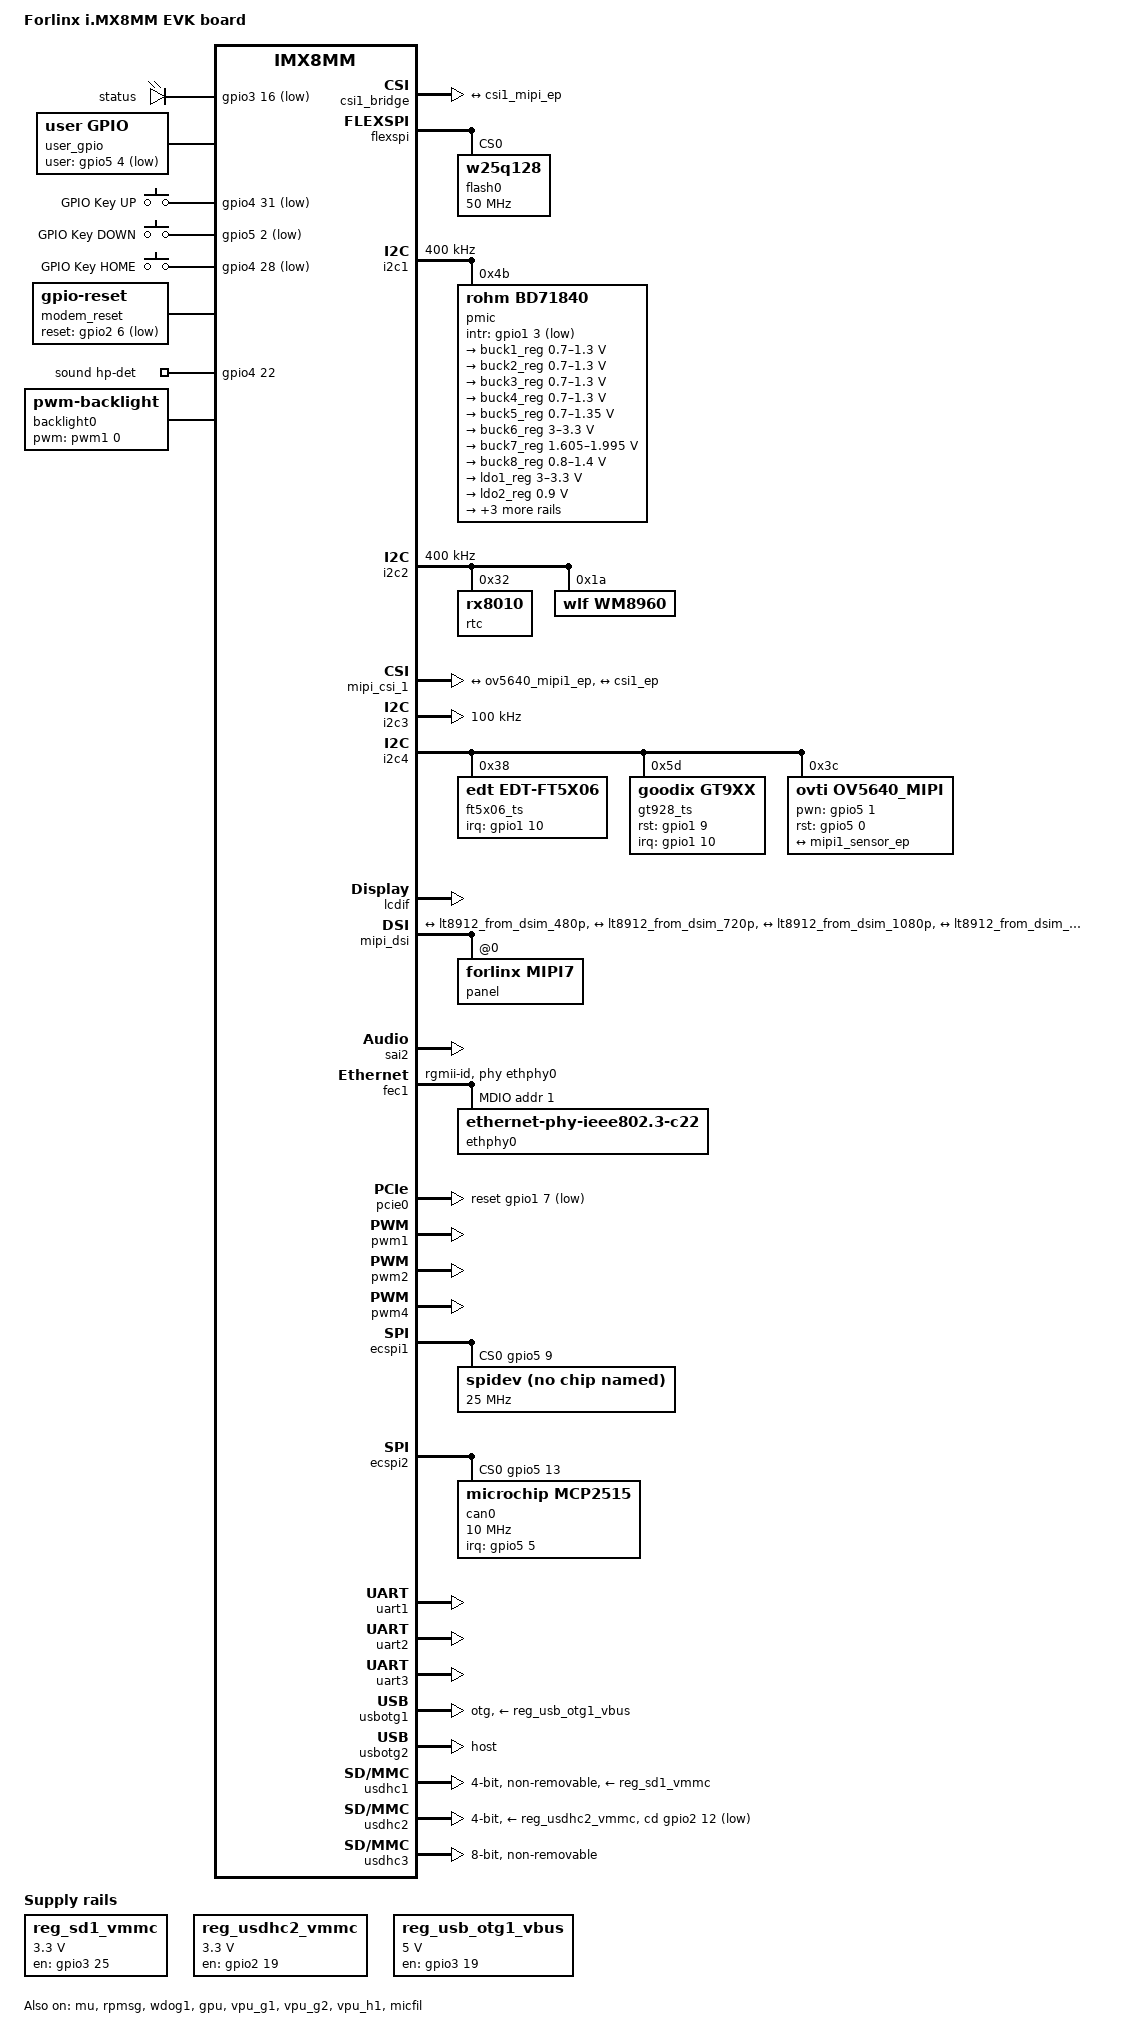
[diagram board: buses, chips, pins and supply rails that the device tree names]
/*
 * Copyright 2018 NXP
 *
 * This program is free software; you can redistribute it and/or
 * modify it under the terms of the GNU General Public License
 * as published by the Free Software Foundation; either version 2
 * of the License, or (at your option) any later version.
 *
 * This program is distributed in the hope that it will be useful,
 * but WITHOUT ANY WARRANTY; without even the implied warranty of
 * MERCHANTABILITY or FITNESS FOR A PARTICULAR PURPOSE.  See the
 * GNU General Public License for more details.
 */

/dts-v1/;

#include "fsl-imx8mm.dtsi"

/ {
	model = "Forlinx i.MX8MM EVK board";
	compatible = "forlinx,imx8mm-evk", "fsl,imx8mm";
	
	clocks {
                mcp251x_clock: mcp251x_clock{
                	compatible = "fixed-clock";
                	#clock-cells = <0>;
                	clock-frequency = <8000000>;
                };
        };

	chosen {
		bootargs = "console=ttymxc1,115200 earlycon=ec_imx6q,0x30890000,115200";
		stdout-path = &uart2;
	};

	leds {
		compatible = "gpio-leds";
		pinctrl-names = "default";
		pinctrl-0 = <&pinctrl_gpio_led>;

		status {
			label = "status";
			gpios = <&gpio3 16 GPIO_ACTIVE_LOW>;
			linux,default-trigger = "heartbeat";
		};
	};

	user_gpio {
		compatible = "user,gpio";
		user-gpios= <&gpio5 4 GPIO_ACTIVE_LOW>;
		pinctrl-names = "default";
		pinctrl-0 = <&pinctrl_user_gpio>;
	};

	gpio-keys {
		compatible = "gpio-keys";
		autorepeat;
		pinctrl-names = "default";
		pinctrl-0 = <&pinctrl_gpio_keys>;

		up {
			label = "GPIO Key UP";
			linux,code = <115>;
			gpios = <&gpio4 31 GPIO_ACTIVE_LOW>;
		};

		down {
			label = "GPIO Key DOWN";
			linux,code = <114>;
			gpios = <&gpio5 2 GPIO_ACTIVE_LOW>;
		};

		home {
			label = "GPIO Key HOME";
			linux,code = <102>;
			gpios = <&gpio4 28 GPIO_ACTIVE_LOW>;
		};
	};

	modem_reset: modem-reset {
		compatible = "gpio-reset";
		reset-gpios = <&gpio2 6 GPIO_ACTIVE_LOW>;
		reset-delay-us = <2000>;
		reset-post-delay-ms = <40>;
		#reset-cells = <0>;
	};

	regulators {
		compatible = "simple-bus";
		#address-cells = <1>;
		#size-cells = <0>;

		reg_sd1_vmmc: sd1_regulator {
			compatible = "regulator-fixed";
			regulator-name = "WLAN_EN";
			regulator-min-microvolt = <3300000>;
			regulator-max-microvolt = <3300000>;
			gpio = <&gpio3 25 GPIO_ACTIVE_HIGH>;
			off-on-delay = <20000>;
			startup-delay-us = <100>;
			enable-active-high;
		};

		reg_usdhc2_vmmc: regulator-usdhc2 {
			compatible = "regulator-fixed";
			regulator-name = "VSD_3V3";
			regulator-min-microvolt = <3300000>;
			regulator-max-microvolt = <3300000>;
			gpio = <&gpio2 19 GPIO_ACTIVE_HIGH>;
			off-on-delay = <20000>;
			enable-active-high;
		};

		reg_usb_otg1_vbus: regulator@0 {
			compatible = "regulator-fixed";
			reg = <0>;
			regulator-name = "usb_otg1_vbus";
			regulator-min-microvolt = <5000000>;
			regulator-max-microvolt = <5000000>;
			gpio = <&gpio3 19 GPIO_ACTIVE_HIGH>;
			enable-active-high;
		};
	};

	sound: sound {
		compatible = "fsl,imx7d-evk-wm8960",
			   "fsl,imx-audio-wm8960";
		model = "wm8960-audio";
		cpu-dai = <&sai2>;
		audio-codec = <&wm8960>;
		codec-master;
		hp-det-gpios = <&gpio4 22 0>;
		audio-routing =
			"Headphone Jack", "HP_L",
			"Headphone Jack", "HP_R",
			"Ext Spk", "SPK_LP",
			"Ext Spk", "SPK_LN",
			"Ext Spk", "SPK_RP",
			"Ext Spk", "SPK_RN",
			"LINPUT2", "Mic Jack",
			"RINPUT2", "Mic Jack",
			"Mic Jack", "MICB",
			"CPU-Playback", "ASRC-Playback",
			"Playback", "CPU-Playback",
			"ASRC-Capture", "CPU-Capture",
			"CPU-Capture", "Capture";
	};
	
	sound-micfil {
		compatible = "fsl,imx-audio-micfil";
		model = "imx-audio-micfil";
		cpu-dai = <&micfil>;
	};

	backlight0: backlight@0 {
		compatible = "pwm-backlight";
		pwms = <&pwm1 0 50000 0>;

		brightness-levels = < 0 23 23 23 23 23 23 23 23 23
				     23 23 23 23 23 23 23 23 23 23
				     23 23 23 23 24 25 26 27 28 29
				     30 31 32 33 34 35 36 37 38 39
				     40 41 42 43 44 45 46 47 48 49
				     50 51 52 53 54 55 56 57 58 59
				     60 61 62 63 64 65 66 67 68 69
				     70 71 72 73 74 75 76 77 78 79
				     80 81 82 83 84 85 86 87 88 89
				     90 91 92 93 94 95 96 97 98 99
				    100>;
		default-brightness-level = <80>;
	};
};

&clk {
	assigned-clocks = <&clk IMX8MM_AUDIO_PLL1>, <&clk IMX8MM_AUDIO_PLL2>;
	assigned-clock-rates = <720000000>, <722534400>;
};

&iomuxc {
	pinctrl-names = "default";

	imx8mm-evk {
		pinctrl_user_gpio: user_gpio_grp {
			fsl,pins = <
				MX8MM_IOMUXC_SPDIF_RX_GPIO5_IO4		0x16
			>;
		};

		pinctrl_csi_pwn: csi_pwn_grp {
			fsl,pins = <
				MX8MM_IOMUXC_SAI3_TXD_GPIO5_IO1		0x19
			>;
		};

		pinctrl_csi_rst: csi_rst_grp {
			fsl,pins = <
				MX8MM_IOMUXC_SAI3_TXC_GPIO5_IO0		0x19
				MX8MM_IOMUXC_GPIO1_IO14_CCMSRCGPCMIX_CLKO1  0x59
			>;
		};

		pinctrl_i2c2_synaptics_dsx_io: synaptics_dsx_iogrp {
			fsl,pins = <
				MX8MM_IOMUXC_GPIO1_IO09_GPIO1_IO9		0x19	/* Touch int */
			>;
		};

		pinctrl_fec1: fec1grp {
			fsl,pins = <
				MX8MM_IOMUXC_ENET_MDC_ENET1_MDC		0x3
				MX8MM_IOMUXC_ENET_MDIO_ENET1_MDIO	0x3
				MX8MM_IOMUXC_ENET_TD3_ENET1_RGMII_TD3	0x1f
				MX8MM_IOMUXC_ENET_TD2_ENET1_RGMII_TD2	0x1f
				MX8MM_IOMUXC_ENET_TD1_ENET1_RGMII_TD1	0x1f
				MX8MM_IOMUXC_ENET_TD0_ENET1_RGMII_TD0	0x1f
				MX8MM_IOMUXC_ENET_RD3_ENET1_RGMII_RD3	0x91
				MX8MM_IOMUXC_ENET_RD2_ENET1_RGMII_RD2	0x91
				MX8MM_IOMUXC_ENET_RD1_ENET1_RGMII_RD1	0x91
				MX8MM_IOMUXC_ENET_RD0_ENET1_RGMII_RD0	0x91
				MX8MM_IOMUXC_ENET_TXC_ENET1_RGMII_TXC	0x1f
				MX8MM_IOMUXC_ENET_RXC_ENET1_RGMII_RXC	0x91
				MX8MM_IOMUXC_ENET_RX_CTL_ENET1_RGMII_RX_CTL	0x91
				MX8MM_IOMUXC_ENET_TX_CTL_ENET1_RGMII_TX_CTL	0x1f
				MX8MM_IOMUXC_SD1_RESET_B_GPIO2_IO10	0x19
			>;
		};

		pinctrl_flexspi0: flexspi0grp {
			fsl,pins = <
				MX8MM_IOMUXC_NAND_ALE_QSPI_A_SCLK		0x1c2
				MX8MM_IOMUXC_NAND_CE0_B_QSPI_A_SS0_B		0x82
				MX8MM_IOMUXC_NAND_DATA00_QSPI_A_DATA0		0x156
				MX8MM_IOMUXC_NAND_DATA01_QSPI_A_DATA1		0x156
				MX8MM_IOMUXC_NAND_DATA02_QSPI_A_DATA2		0x156
				MX8MM_IOMUXC_NAND_DATA03_QSPI_A_DATA3		0x156
			>;
		};

		pinctrl_gpio_led: gpioledgrp {
			fsl,pins = <
				MX8MM_IOMUXC_NAND_READY_B_GPIO3_IO16	0x19
			>;
		};

		pinctrl_i2c1: i2c1grp {
			fsl,pins = <
				MX8MM_IOMUXC_I2C1_SCL_I2C1_SCL			0x400001c3
				MX8MM_IOMUXC_I2C1_SDA_I2C1_SDA			0x400001c3
			>;
		};

		pinctrl_i2c2: i2c2grp {
			fsl,pins = <
				MX8MM_IOMUXC_I2C2_SCL_I2C2_SCL			0x400001c3
				MX8MM_IOMUXC_I2C2_SDA_I2C2_SDA			0x400001c3
			>;
		};

		pinctrl_i2c3: i2c3grp {
			fsl,pins = <
				MX8MM_IOMUXC_I2C3_SCL_I2C3_SCL			0x400001c3
				MX8MM_IOMUXC_I2C3_SDA_I2C3_SDA			0x400001c3
			>;
		};

		pinctrl_i2c4: i2c4grp {
			fsl,pins = <
				MX8MM_IOMUXC_I2C4_SCL_I2C4_SCL			0x400001c3
				MX8MM_IOMUXC_I2C4_SDA_I2C4_SDA			0x400001c3
			>;
		};

		pinctrl_pcie0: pcie0grp {
			fsl,pins = <
				MX8MM_IOMUXC_GPIO1_IO05_GPIO1_IO5	0x41
				MX8MM_IOMUXC_GPIO1_IO07_GPIO1_IO7	0x41
			>;
		};

		pinctrl_pmic: pmicirq {
			fsl,pins = <
				MX8MM_IOMUXC_GPIO1_IO03_GPIO1_IO3		0x41
			>;
		};

		pinctrl_sai1: sai1grp {
			fsl,pins = <
				MX8MM_IOMUXC_SAI1_MCLK_SAI1_MCLK	0xd6
				MX8MM_IOMUXC_SAI1_TXFS_SAI1_TX_SYNC	0xd6
				MX8MM_IOMUXC_SAI1_RXD7_SAI1_TX_SYNC	0xd6
				MX8MM_IOMUXC_SAI1_TXC_SAI1_TX_BCLK	0xd6
				MX8MM_IOMUXC_SAI1_TXD0_SAI1_TX_DATA0	0xd6
				MX8MM_IOMUXC_SAI1_TXD1_SAI1_TX_DATA1	0xd6
				MX8MM_IOMUXC_SAI1_TXD2_SAI1_TX_DATA2	0xd6
				MX8MM_IOMUXC_SAI1_TXD3_SAI1_TX_DATA3	0xd6
				MX8MM_IOMUXC_SAI1_TXD4_SAI1_TX_DATA4	0xd6
				MX8MM_IOMUXC_SAI1_TXD5_SAI1_TX_DATA5	0xd6
				MX8MM_IOMUXC_SAI1_TXD6_SAI1_TX_DATA6	0xd6
				MX8MM_IOMUXC_SAI1_TXD7_SAI1_TX_DATA7	0xd6
			>;
		};

		pinctrl_sai1_dsd: sai1grp_dsd {
			fsl,pins = <
				MX8MM_IOMUXC_SAI1_MCLK_SAI1_MCLK	0xd6
				MX8MM_IOMUXC_SAI1_TXFS_SAI1_TX_SYNC	0xd6
				MX8MM_IOMUXC_SAI1_RXD7_SAI1_TX_DATA4	0xd6
				MX8MM_IOMUXC_SAI1_TXC_SAI1_TX_BCLK	0xd6
				MX8MM_IOMUXC_SAI1_TXD0_SAI1_TX_DATA0	0xd6
				MX8MM_IOMUXC_SAI1_TXD1_SAI1_TX_DATA1	0xd6
				MX8MM_IOMUXC_SAI1_TXD2_SAI1_TX_DATA2	0xd6
				MX8MM_IOMUXC_SAI1_TXD3_SAI1_TX_DATA3	0xd6
				MX8MM_IOMUXC_SAI1_TXD4_SAI1_TX_DATA4	0xd6
				MX8MM_IOMUXC_SAI1_TXD5_SAI1_TX_DATA5	0xd6
				MX8MM_IOMUXC_SAI1_TXD6_SAI1_TX_DATA6	0xd6
				MX8MM_IOMUXC_SAI1_TXD7_SAI1_TX_DATA7	0xd6
			>;
		};

		pinctrl_sai2: sai2grp {
			fsl,pins = <
				MX8MM_IOMUXC_SAI2_TXFS_SAI2_TX_SYNC     0xd6
				MX8MM_IOMUXC_SAI2_TXC_SAI2_TX_BCLK      0xd6
				MX8MM_IOMUXC_SAI2_MCLK_SAI2_MCLK        0xd6
				MX8MM_IOMUXC_SAI2_TXD0_SAI2_TX_DATA0	0xd6
				MX8MM_IOMUXC_SAI2_RXD0_SAI2_RX_DATA0    0xd6
				MX8MM_IOMUXC_SAI2_RXC_GPIO4_IO22	0xd6	
			>;
		};

		pinctrl_pdm: pdmgrp {
			fsl,pins = <
				MX8MM_IOMUXC_SAI5_RXC_PDM_CLK		0xd6
				MX8MM_IOMUXC_SAI5_RXD0_PDM_DATA0	0xd6
				MX8MM_IOMUXC_SAI5_RXD1_PDM_DATA1	0xd6
				MX8MM_IOMUXC_SAI5_RXD2_PDM_DATA2	0xd6
				MX8MM_IOMUXC_SAI5_RXD3_PDM_DATA3	0xd6
			>;
		};

		pinctrl_uart1: uart1grp {
			fsl,pins = <
				MX8MM_IOMUXC_UART1_RXD_UART1_DCE_RX	0x140
				MX8MM_IOMUXC_UART1_TXD_UART1_DCE_TX	0x140
			>;
		};

		pinctrl_uart2: uart2grp {
			fsl,pins = <
				MX8MM_IOMUXC_UART2_RXD_UART2_DCE_RX	0x140
				MX8MM_IOMUXC_UART2_TXD_UART2_DCE_TX	0x140
			>;
		};

		pinctrl_uart3: uart3grp {
			fsl,pins = <
				MX8MM_IOMUXC_UART3_RXD_UART3_DCE_RX		0x140
				MX8MM_IOMUXC_UART3_TXD_UART3_DCE_TX		0x140
			>;
		};

		pinctrl_usdhc1_gpio: usdhc1grpgpio {
			fsl,pins = <
				MX8MM_IOMUXC_SAI5_MCLK_GPIO3_IO25	0x41
			>;
		};

		pinctrl_usdhc1: usdhc1grp {
			fsl,pins = <
				MX8MM_IOMUXC_SD1_CLK_USDHC1_CLK		0x190
				MX8MM_IOMUXC_SD1_CMD_USDHC1_CMD		0x1d0
				MX8MM_IOMUXC_SD1_DATA0_USDHC1_DATA0	0x1d0
				MX8MM_IOMUXC_SD1_DATA1_USDHC1_DATA1	0x1d0
				MX8MM_IOMUXC_SD1_DATA2_USDHC1_DATA2	0x1d0
				MX8MM_IOMUXC_SD1_DATA3_USDHC1_DATA3	0x1d0
			>;
		};

		pinctrl_usdhc1_100mhz: usdhc1grp100mhz {
			fsl,pins = <
				MX8MM_IOMUXC_SD1_CLK_USDHC1_CLK		0x194
				MX8MM_IOMUXC_SD1_CMD_USDHC1_CMD		0x1d4
				MX8MM_IOMUXC_SD1_DATA0_USDHC1_DATA0	0x1d4
				MX8MM_IOMUXC_SD1_DATA1_USDHC1_DATA1	0x1d4
				MX8MM_IOMUXC_SD1_DATA2_USDHC1_DATA2	0x1d4
				MX8MM_IOMUXC_SD1_DATA3_USDHC1_DATA3	0x1d4
			>;
		};

		pinctrl_usdhc1_200mhz: usdhc1grp200mhz {
			fsl,pins = <
				MX8MM_IOMUXC_SD1_CLK_USDHC1_CLK		0x196
				MX8MM_IOMUXC_SD1_CMD_USDHC1_CMD		0x1d6
				MX8MM_IOMUXC_SD1_DATA0_USDHC1_DATA0	0x1d6
				MX8MM_IOMUXC_SD1_DATA1_USDHC1_DATA1	0x1d6
				MX8MM_IOMUXC_SD1_DATA2_USDHC1_DATA2	0x1d6
				MX8MM_IOMUXC_SD1_DATA3_USDHC1_DATA3	0x1d6
			>;
		};

		pinctrl_usdhc2_gpio: usdhc2grpgpio {
			fsl,pins = <
				MX8MM_IOMUXC_SD2_CD_B_GPIO2_IO12	0x1c4
				MX8MM_IOMUXC_SD2_RESET_B_GPIO2_IO19	0x41
			>;
		};

		pinctrl_usdhc2: usdhc2grp {
			fsl,pins = <
				MX8MM_IOMUXC_SD2_CLK_USDHC2_CLK		0x190
				MX8MM_IOMUXC_SD2_CMD_USDHC2_CMD		0x1d0
				MX8MM_IOMUXC_SD2_DATA0_USDHC2_DATA0	0x1d0
				MX8MM_IOMUXC_SD2_DATA1_USDHC2_DATA1	0x1d0
				MX8MM_IOMUXC_SD2_DATA2_USDHC2_DATA2	0x1d0
				MX8MM_IOMUXC_SD2_DATA3_USDHC2_DATA3	0x1d0
				MX8MM_IOMUXC_GPIO1_IO04_USDHC2_VSELECT	0x1d0
			>;
		};

		pinctrl_usdhc2_100mhz: usdhc2grp100mhz {
			fsl,pins = <
				MX8MM_IOMUXC_SD2_CLK_USDHC2_CLK		0x194
				MX8MM_IOMUXC_SD2_CMD_USDHC2_CMD		0x1d4
				MX8MM_IOMUXC_SD2_DATA0_USDHC2_DATA0	0x1d4
				MX8MM_IOMUXC_SD2_DATA1_USDHC2_DATA1	0x1d4
				MX8MM_IOMUXC_SD2_DATA2_USDHC2_DATA2	0x1d4
				MX8MM_IOMUXC_SD2_DATA3_USDHC2_DATA3	0x1d4
				MX8MM_IOMUXC_GPIO1_IO04_USDHC2_VSELECT	0x1d0
			>;
		};

		pinctrl_usdhc2_200mhz: usdhc2grp200mhz {
			fsl,pins = <
				MX8MM_IOMUXC_SD2_CLK_USDHC2_CLK		0x196
				MX8MM_IOMUXC_SD2_CMD_USDHC2_CMD		0x1d6
				MX8MM_IOMUXC_SD2_DATA0_USDHC2_DATA0	0x1d6
				MX8MM_IOMUXC_SD2_DATA1_USDHC2_DATA1	0x1d6
				MX8MM_IOMUXC_SD2_DATA2_USDHC2_DATA2	0x1d6
				MX8MM_IOMUXC_SD2_DATA3_USDHC2_DATA3	0x1d6
				MX8MM_IOMUXC_GPIO1_IO04_USDHC2_VSELECT	0x1d0
			>;
		};

		pinctrl_usdhc3: usdhc3grp {
			fsl,pins = <
				MX8MM_IOMUXC_NAND_WE_B_USDHC3_CLK		0x190
				MX8MM_IOMUXC_NAND_WP_B_USDHC3_CMD		0x1d0
				MX8MM_IOMUXC_NAND_DATA04_USDHC3_DATA0		0x1d0
				MX8MM_IOMUXC_NAND_DATA05_USDHC3_DATA1		0x1d0
				MX8MM_IOMUXC_NAND_DATA06_USDHC3_DATA2		0x1d0
				MX8MM_IOMUXC_NAND_DATA07_USDHC3_DATA3		0x1d0
				MX8MM_IOMUXC_NAND_RE_B_USDHC3_DATA4		0x1d0
				MX8MM_IOMUXC_NAND_CE2_B_USDHC3_DATA5		0x1d0
				MX8MM_IOMUXC_NAND_CE3_B_USDHC3_DATA6		0x1d0
				MX8MM_IOMUXC_NAND_CLE_USDHC3_DATA7		0x1d0
				MX8MM_IOMUXC_NAND_CE1_B_USDHC3_STROBE 		0x190
			>;
		};

		pinctrl_usdhc3_100mhz: usdhc3grp100mhz {
			fsl,pins = <
				MX8MM_IOMUXC_NAND_WE_B_USDHC3_CLK		0x194
				MX8MM_IOMUXC_NAND_WP_B_USDHC3_CMD		0x1d4
				MX8MM_IOMUXC_NAND_DATA04_USDHC3_DATA0		0x1d4
				MX8MM_IOMUXC_NAND_DATA05_USDHC3_DATA1		0x1d4
				MX8MM_IOMUXC_NAND_DATA06_USDHC3_DATA2		0x1d4
				MX8MM_IOMUXC_NAND_DATA07_USDHC3_DATA3		0x1d4
				MX8MM_IOMUXC_NAND_RE_B_USDHC3_DATA4		0x1d4
				MX8MM_IOMUXC_NAND_CE2_B_USDHC3_DATA5		0x1d4
				MX8MM_IOMUXC_NAND_CE3_B_USDHC3_DATA6		0x1d4
				MX8MM_IOMUXC_NAND_CLE_USDHC3_DATA7		0x1d4
				MX8MM_IOMUXC_NAND_CE1_B_USDHC3_STROBE 		0x194
			>;
		};

		pinctrl_usdhc3_200mhz: usdhc3grp200mhz {
			fsl,pins = <
				MX8MM_IOMUXC_NAND_WE_B_USDHC3_CLK		0x196
				MX8MM_IOMUXC_NAND_WP_B_USDHC3_CMD		0x1d6
				MX8MM_IOMUXC_NAND_DATA04_USDHC3_DATA0		0x1d6
				MX8MM_IOMUXC_NAND_DATA05_USDHC3_DATA1		0x1d6
				MX8MM_IOMUXC_NAND_DATA06_USDHC3_DATA2		0x1d6
				MX8MM_IOMUXC_NAND_DATA07_USDHC3_DATA3		0x1d6
				MX8MM_IOMUXC_NAND_RE_B_USDHC3_DATA4		0x1d6
				MX8MM_IOMUXC_NAND_CE2_B_USDHC3_DATA5		0x1d6
				MX8MM_IOMUXC_NAND_CE3_B_USDHC3_DATA6		0x1d6
				MX8MM_IOMUXC_NAND_CLE_USDHC3_DATA7		0x1d6
				MX8MM_IOMUXC_NAND_CE1_B_USDHC3_STROBE 		0x196
			>;
		};

		pinctrl_wdog: wdoggrp {
			fsl,pins = <
				MX8MM_IOMUXC_GPIO1_IO02_WDOG1_WDOG_B		0xc6
			>;
		};

		pinctrl_otg1_vbus_ctrl: otg1_vbus_ctrl {
			fsl,pins = <
				MX8MM_IOMUXC_SAI5_RXFS_GPIO3_IO19		0x100	//pull down
			>;
		};

		pinctrl_gpio_keys: gpio_keys {
			fsl,pins = <
				MX8MM_IOMUXC_SAI3_TXFS_GPIO4_IO31		0x19
				MX8MM_IOMUXC_SAI3_RXFS_GPIO4_IO28		0x19
				MX8MM_IOMUXC_SAI3_MCLK_GPIO5_IO2		0x19
			>;
		};

		pinctrl_spi1: spi1 {
			fsl,pins = <
				MX8MM_IOMUXC_ECSPI1_SCLK_ECSPI1_SCLK		0x1d0
				MX8MM_IOMUXC_ECSPI1_MOSI_ECSPI1_MOSI		0x1d0
				MX8MM_IOMUXC_ECSPI1_MISO_ECSPI1_MISO		0x1d0
				MX8MM_IOMUXC_ECSPI1_SS0_GPIO5_IO9		0x1d0
				MX8MM_IOMUXC_SPDIF_TX_GPIO5_IO3			0x159
			>;
		};

		pinctrl_spi2: spi2 {
			fsl,pins = <
				MX8MM_IOMUXC_ECSPI2_SCLK_ECSPI2_SCLK		0x1d0
				MX8MM_IOMUXC_ECSPI2_MOSI_ECSPI2_MOSI		0x1d0
				MX8MM_IOMUXC_ECSPI2_MISO_ECSPI2_MISO		0x1d0
				MX8MM_IOMUXC_ECSPI2_SS0_GPIO5_IO13		0x1d0
				MX8MM_IOMUXC_SPDIF_EXT_CLK_GPIO5_IO5		0x159
			>;
		};

		pinctrl_pwm1: pwm1 {
			fsl,pins = <
				MX8MM_IOMUXC_GPIO1_IO01_PWM1_OUT		0x1d0
			>;
		};
		
		pinctrl_pwm2: pwm2 {
			fsl,pins = <
				MX8MM_IOMUXC_GPIO1_IO13_PWM2_OUT		0x1d0
			>;
		};

		pinctrl_pwm3: pwm3 {
			fsl,pins = <
				MX8MM_IOMUXC_GPIO1_IO14_PWM3_OUT		0x1d0
			>;
		};

		pinctrl_pwm4: pwm4 {
			fsl,pins = <
				MX8MM_IOMUXC_GPIO1_IO15_PWM4_OUT		0x1d0
			>;
		};
		
		pinctrl_ft5x06_int: ft5x06_int {
			fsl,pins = <
				MX8MM_IOMUXC_GPIO1_IO10_GPIO1_IO10		0x159
				MX8MM_IOMUXC_GPIO1_IO09_GPIO1_IO9		0x159	
			>;
		};

		pinctrl_wm8960_power_en: wm8960_pw_en {
			fsl,pins = <
				MX8MM_IOMUXC_SAI2_RXFS_GPIO4_IO21		0x159
			>;
		};
	};
};

&csi1_bridge {
	fsl,mipi-mode;
	status = "okay";
	port {
		csi1_ep: endpoint {
			remote-endpoint = <&csi1_mipi_ep>;
		};
	};
};

&flexspi {
	pinctrl-names = "default";
	pinctrl-0 = <&pinctrl_flexspi0>;
	status = "okay";
	assigned-clocks = <&clk IMX8MM_CLK_QSPI_SRC>;
	assigned-clock-parents = <&clk IMX8MM_SYS_PLL1_100M>;

	flash0: mt25qu256aba@0 {
		reg = <0>;
		#address-cells = <1>;
		#size-cells = <1>;
		compatible = "w25q128";
		spi-max-frequency = <50000000>;
		spi-nor,ddr-quad-read-dummy = <6>;
	};
};

&i2c1 {
	clock-frequency = <400000>;
	pinctrl-names = "default";
	pinctrl-0 = <&pinctrl_i2c1>;
	status = "okay";

	pmic: bd71837@4b {
		reg = <0x4b>;
		compatible = "rohm,bd71840", "rohm,bd71837";
		/* PMIC BD71837 PMIC_nINT GPIO1_IO3 */
		pinctrl-0 = <&pinctrl_pmic>;
		gpio_intr = <&gpio1 3 GPIO_ACTIVE_LOW>;

		gpo {
			rohm,drv = <0x0C>;	/* 0b0000_1100 all gpos with cmos output mode */
		};

		regulators {
			#address-cells = <1>;
			#size-cells = <0>;

			bd71837,pmic-buck2-uses-i2c-dvs;
			bd71837,pmic-buck2-dvs-voltage = <1000000>, <900000>, <0>; /* VDD_ARM: Run-Idle */

			buck1_reg: regulator@0 {
				reg = <0>;
				regulator-compatible = "buck1";
				regulator-min-microvolt = <700000>;
				regulator-max-microvolt = <1300000>;
				regulator-boot-on;
				regulator-always-on;
				regulator-ramp-delay = <1250>;
			};

			buck2_reg: regulator@1 {
				reg = <1>;
				regulator-compatible = "buck2";
				regulator-min-microvolt = <700000>;
				regulator-max-microvolt = <1300000>;
				regulator-boot-on;
				regulator-always-on;
				regulator-ramp-delay = <1250>;
			};

			buck3_reg: regulator@2 {
				reg = <2>;
				regulator-compatible = "buck3";
				regulator-min-microvolt = <700000>;
				regulator-max-microvolt = <1300000>;
			};

			buck4_reg: regulator@3 {
				reg = <3>;
				regulator-compatible = "buck4";
				regulator-min-microvolt = <700000>;
				regulator-max-microvolt = <1300000>;
			};

			buck5_reg: regulator@4 {
				reg = <4>;
				regulator-compatible = "buck5";
				regulator-min-microvolt = <700000>;
				regulator-max-microvolt = <1350000>;
				regulator-boot-on;
				regulator-always-on;
			};

			buck6_reg: regulator@5 {
				reg = <5>;
				regulator-compatible = "buck6";
				regulator-min-microvolt = <3000000>;
				regulator-max-microvolt = <3300000>;
				regulator-boot-on;
				regulator-always-on;
			};

			buck7_reg: regulator@6 {
				reg = <6>;
				regulator-compatible = "buck7";
				regulator-min-microvolt = <1605000>;
				regulator-max-microvolt = <1995000>;
				regulator-boot-on;
				regulator-always-on;
			};

			buck8_reg: regulator@7 {
				reg = <7>;
				regulator-compatible = "buck8";
				regulator-min-microvolt = <800000>;
				regulator-max-microvolt = <1400000>;
				regulator-boot-on;
				regulator-always-on;
			};

			ldo1_reg: regulator@8 {
				reg = <8>;
				regulator-compatible = "ldo1";
				regulator-min-microvolt = <3000000>;
				regulator-max-microvolt = <3300000>;
				regulator-boot-on;
				regulator-always-on;
			};

			ldo2_reg: regulator@9 {
				reg = <9>;
				regulator-compatible = "ldo2";
				regulator-min-microvolt = <900000>;
				regulator-max-microvolt = <900000>;
				regulator-boot-on;
				regulator-always-on;
			};

			ldo3_reg: regulator@10 {
				reg = <10>;
				regulator-compatible = "ldo3";
				regulator-min-microvolt = <1800000>;
				regulator-max-microvolt = <3300000>;
				regulator-boot-on;
				regulator-always-on;
			};

			ldo4_reg: regulator@11 {
				reg = <11>;
				regulator-compatible = "ldo4";
				regulator-min-microvolt = <900000>;
				regulator-max-microvolt = <1800000>;
				regulator-boot-on;
				regulator-always-on;
			};

			ldo6_reg: regulator@13 {
				reg = <13>;
				regulator-compatible = "ldo6";
				regulator-min-microvolt = <900000>;
				regulator-max-microvolt = <1800000>;
				regulator-boot-on;
				regulator-always-on;
			};
		};
	};
};

&i2c2 {
	clock-frequency = <400000>;
	pinctrl-names = "default";
	pinctrl-0 = <&pinctrl_i2c2>;
	status = "okay";

	
	rtc@32 {
		compatible = "rx8010";
		reg = <0x32>;
		status = "okay";
	};

	wm8960: wm8960@1a {
		compatible = "wlf,wm8960";
		reg = <0x1a>;
		pinctrl-names = "default";
		pinctrl-0 = <&pinctrl_wm8960_power_en>;
		wlf,shared-lrclk;
		clocks = <&clk IMX8MM_CLK_SAI2_ROOT>;
		clock-names = "mclk";
	};
};


&mipi_csi_1 {
	#address-cells = <1>;
	#size-cells = <0>;
	status = "okay";
	port {
		mipi1_sensor_ep: endpoint1 {
			remote-endpoint = <&ov5640_mipi1_ep>;
			data-lanes = <2>;
			csis-hs-settle = <13>;
			csis-clk-settle = <2>;
			csis-wclk;
		};

		csi1_mipi_ep: endpoint2 {
			remote-endpoint = <&csi1_ep>;
		};
	};
};

&i2c3 {
	clock-frequency = <100000>;
	pinctrl-names = "default";
	pinctrl-0 = <&pinctrl_i2c3>;
	status = "okay";

};

&i2c4{
	pinctrl-names = "default";
	pinctrl-0 = <&pinctrl_i2c4>;
	status = "okay";

        ft5x06_ts@38 {
                compatible = "edt,edt-ft5x06";
                reg = <0x38>;
                pinctrl-names = "defaults";
                pinctrl-0 = <&pinctrl_ft5x06_int>;
                interrupt-parent = <&gpio1>;
                interrupts = <10 2>;
                status = "okay";
        };

	gt928_ts@5d {
                compatible = "goodix,gt9xx";
                reg = <0x5d>;
                pinctrl-names = "default";
                pinctrl-0 = <&pinctrl_ft5x06_int>;
                interrupt-parent = <&gpio1>;
                interrupts = <10 2>;
                goodix,rst-gpio = <&gpio1 9 0>;
                goodix,irq-gpio = <&gpio1 10 0>;
                status = "okay";

        };


	ov5640_mipi: ov5640_mipi@3c {
		compatible = "ovti,ov5640_mipi";
		reg = <0x3c>;
		status = "okay";
		pinctrl-names = "default";
		pinctrl-0 = <&pinctrl_csi_pwn>, <&pinctrl_csi_rst>;
		clocks = <&clk IMX8MM_CLK_CLKO1_DIV>;
		clock-names = "csi_mclk";
		assigned-clocks = <&clk IMX8MM_CLK_CLKO1_SRC>,
				  <&clk IMX8MM_CLK_CLKO1_DIV>;
		assigned-clock-parents = <&clk IMX8MM_CLK_24M>;
		assigned-clock-rates = <0>, <24000000>;
		csi_id = <0>;
		pwn-gpios = <&gpio5 1 GPIO_ACTIVE_HIGH>;
		rst-gpios = <&gpio5 0 GPIO_ACTIVE_HIGH>;
		mclk = <24000000>;
		mclk_source = <0>;
		port {
			ov5640_mipi1_ep: endpoint {
				remote-endpoint = <&mipi1_sensor_ep>;
			};
		};
	};

	lt8912_bridge_480p: lt8912_480p@48 {
		compatible = "lontium,lt8912-480P";
		reg = <0x48>;
		status = "disabled";

		port {
			lt8912_from_dsim_480p: endpoint {
				remote-endpoint = <&dsim_to_lt8912_480p>;
			};
		};
	};

	lt8912_bridge_720p: lt8912_720p@48 {
		compatible = "lontium,lt8912-720P";
		reg = <0x48>;
		status = "disabled";

		port {
			lt8912_from_dsim_720p: endpoint {
				remote-endpoint = <&dsim_to_lt8912_720p>;
			};
		};
	};

	lt8912_bridge_1080p: lt8912_1080p@48 {
		compatible = "lontium,lt8912-1080P";
		reg = <0x48>;
		status = "disabled";

		port {
			lt8912_from_dsim_1080p: endpoint {
				remote-endpoint = <&dsim_to_lt8912_1080p>;
			};
		};
	};

	lt8912_bridge_WXGA: lt8912_wxga@48 {
		compatible = "lontium,lt8912-WXGA";
		reg = <0x48>;
		status = "disabled";

		port {
			lt8912_from_dsim_wxga: endpoint {
				remote-endpoint = <&dsim_to_lt8912_wxga>;
			};
		};
	};

};

&lcdif {
	status = "okay";
};

&mipi_dsi {
	status = "okay";

	panel@0 {
		compatible = "forlinx,mipi7";
		reg = <0>;
	};

	port@1 {
		dsim_to_lt8912_480p: endpoint {
			remote-endpoint = <&lt8912_from_dsim_480p>;
		};
	};

	port@2 {
		dsim_to_lt8912_720p: endpoint {
			remote-endpoint = <&lt8912_from_dsim_720p>;
		};
	};

	port@3 {
		dsim_to_lt8912_1080p: endpoint {
			remote-endpoint = <&lt8912_from_dsim_1080p>;
		};
	};

	port@4 {
		dsim_to_lt8912_wxga: endpoint {
			remote-endpoint = <&lt8912_from_dsim_wxga>;
		};
	};

};

&mu {
	status = "okay";
};

&rpmsg{
	/*
	 * 64K for one rpmsg instance:
	 * --0xb8000000~0xb800ffff: pingpong
	 */
	vdev-nums = <1>;
	reg = <0x0 0xb8000000 0x0 0x10000>;
	status = "okay";
};

&sai1 {
	pinctrl-names = "default", "dsd";
	pinctrl-0 = <&pinctrl_sai1>;
	pinctrl-1 = <&pinctrl_sai1_dsd>;
	assigned-clocks = <&clk IMX8MM_CLK_SAI1_SRC>,
			<&clk IMX8MM_CLK_SAI1_DIV>;
	assigned-clock-parents = <&clk IMX8MM_AUDIO_PLL1_OUT>;
	assigned-clock-rates = <0>, <49152000>;
	clocks = <&clk IMX8MM_CLK_SAI1_IPG>, <&clk IMX8MM_CLK_DUMMY>,
		<&clk IMX8MM_CLK_SAI1_ROOT>, <&clk IMX8MM_CLK_DUMMY>,
		<&clk IMX8MM_CLK_DUMMY>, <&clk IMX8MM_AUDIO_PLL1_OUT>,
		<&clk IMX8MM_AUDIO_PLL2_OUT>;
	clock-names = "bus", "mclk0", "mclk1", "mclk2", "mclk3", "pll8k", "pll11k";
	fsl,sai-multi-lane;
	fsl,dataline,dsd = <0 0xff 0xff 2 0xff 0x11>;
	dmas = <&sdma2 0 26 0>, <&sdma2 1 26 0>;
	status = "disabled";
};

&sai2 {
	pinctrl-names = "default";
	pinctrl-0 = <&pinctrl_sai2>;
	assigned-clocks = <&clk IMX8MM_CLK_SAI2_SRC>,
			<&clk IMX8MM_CLK_SAI2_DIV>;
	assigned-clock-parents = <&clk IMX8MM_AUDIO_PLL1_OUT>;
	assigned-clock-rates = <0>, <24000000>;
	status = "okay";
};

&fec1 {
	pinctrl-names = "default";
	pinctrl-0 = <&pinctrl_fec1>;
	phy-mode = "rgmii-id";
	phy-handle = <&ethphy0>;
	fsl,magic-packet;
	status = "okay";

	mdio {
		#address-cells = <1>;
		#size-cells = <0>;

		ethphy0: ethernet-phy@1 {
			compatible = "ethernet-phy-ieee802.3-c22";
			reg = <1>;
			at803x,led-act-blind-workaround;
			at803x,eee-okay;
			at803x,vddio-1p8v;
		};
	};
};

&pcie0{
	pinctrl-names = "default";
	pinctrl-0 = <&pinctrl_pcie0>;
	disable-gpio = <&gpio1 5 GPIO_ACTIVE_LOW>;
	reset-gpio = <&gpio1 7 GPIO_ACTIVE_LOW>;
	ext_osc = <1>;
	status = "okay";
};

&pwm1 {
	pinctrl-names = "default";
	pinctrl-0 = <&pinctrl_pwm1>;
	status = "okay";
};

&pwm2 {
	pinctrl-names = "default";
	pinctrl-0 = <&pinctrl_pwm2>;
	status = "okay";
};

&pwm3 {
	pinctrl-names = "default";
	pinctrl-0 = <&pinctrl_pwm3>;
	status = "disabled";
};

&pwm4 {
	pinctrl-names = "default";
	pinctrl-0 = <&pinctrl_pwm4>;
	status = "okay";
};

&ecspi1 {
	status = "okay";
	pinctrl-names = "default";
	pinctrl-0 = <&pinctrl_spi1>;
	cs-gpios = <&gpio5 9 0>;

	spidev@0 {
		compatible = "spidev", "rohm,dh2228fv";
		reg = <0>;
		spi-max-frequency = <25000000>;
	};
};

&ecspi2 {
	status = "okay";
	pinctrl-names = "default";
	pinctrl-0 = <&pinctrl_spi2>;
	cs-gpios = <&gpio5 13 0>;

	/*spidev@0 {
		compatible = "spidev", "rohm,dh2228fv";
		reg = <0>;
		spi-max-frequency = <25000000>;
	};*/
	can0: mcp2515@0 {
                compatible = "microchip,mcp2515";
                reg = <0>;
                spi-max-frequency = <10000000>;
                clocks = <&mcp251x_clock>;
                interrupt-parent = <&gpio5>;
                interrupts = <5 0x2>;
	};
};

&uart1 {
	pinctrl-names = "default";
	pinctrl-0 = <&pinctrl_uart1>;
	assigned-clocks = <&clk IMX8MM_CLK_UART1_SRC>;
	assigned-clock-parents = <&clk IMX8MM_SYS_PLL1_80M>;
	status = "okay";
};

&uart2 { /* console */
	pinctrl-names = "default";
	pinctrl-0 = <&pinctrl_uart2>;
	status = "okay";
};

&uart3 {
	pinctrl-names = "default";
	pinctrl-0 = <&pinctrl_uart3>;
	assigned-clocks = <&clk IMX8MM_CLK_UART3_SRC>;
	assigned-clock-parents = <&clk IMX8MM_SYS_PLL1_80M>;
	status = "okay";
};

&usbotg1 {
	pinctrl-names = "default";
	pinctrl-0 = <&pinctrl_otg1_vbus_ctrl>;

	dr_mode = "otg";
	vbus-supply = <&reg_usb_otg1_vbus>;
	picophy,pre-emp-curr-control = <3>;
	picophy,dc-vol-level-adjust = <7>;
	status = "okay";
};

&usbotg2 {
	dr_mode = "host";
	picophy,pre-emp-curr-control = <3>;
	picophy,dc-vol-level-adjust = <7>;
	status = "okay";
};

&usdhc1 {
	pinctrl-names = "default", "state_100mhz", "state_200mhz";
	pinctrl-0 = <&pinctrl_usdhc1>, <&pinctrl_usdhc1_gpio>;
	pinctrl-1 = <&pinctrl_usdhc1_100mhz>, <&pinctrl_usdhc1_gpio>;
	pinctrl-2 = <&pinctrl_usdhc1_200mhz>, <&pinctrl_usdhc1_gpio>;
	bus-width = <4>;
	vmmc-supply = <&reg_sd1_vmmc>;
	pm-ignore-notify;
	keep-power-in-suspend;
	non-removable;
	status = "okay";
};

&usdhc2 {
	pinctrl-names = "default", "state_100mhz", "state_200mhz";
	pinctrl-0 = <&pinctrl_usdhc2>, <&pinctrl_usdhc2_gpio>;
	pinctrl-1 = <&pinctrl_usdhc2_100mhz>, <&pinctrl_usdhc2_gpio>;
	pinctrl-2 = <&pinctrl_usdhc2_200mhz>, <&pinctrl_usdhc2_gpio>;
	cd-gpios = <&gpio2 12 GPIO_ACTIVE_LOW>;
	bus-width = <4>;
	vmmc-supply = <&reg_usdhc2_vmmc>;
	status = "okay";
};

&usdhc3 {
	pinctrl-names = "default", "state_100mhz", "state_200mhz";
	pinctrl-0 = <&pinctrl_usdhc3>;
	pinctrl-1 = <&pinctrl_usdhc3_100mhz>;
	pinctrl-2 = <&pinctrl_usdhc3_200mhz>;
	bus-width = <8>;
	non-removable;
	status = "okay";
};

&wdog1 {
	pinctrl-names = "default";
	pinctrl-0 = <&pinctrl_wdog>;
	fsl,ext-reset-output;
	status = "okay";
};

&A53_0 {
	arm-supply = <&buck2_reg>;
};

&gpu {
	status = "okay";
};

&vpu_g1 {
	status = "okay";
};

&vpu_g2 {
	status = "okay";
};

&vpu_h1 {
	status = "okay";
};

&micfil {
	pinctrl-names = "default";
	pinctrl-0 = <&pinctrl_pdm>;
	assigned-clocks = <&clk IMX8MM_CLK_PDM_SRC>, <&clk IMX8MM_CLK_PDM_DIV>;
	assigned-clock-parents = <&clk IMX8MM_AUDIO_PLL1_OUT>;
	assigned-clock-rates = <0>, <196608000>;
	status = "okay";
};

&snvs {
	status = "disabled";
};
